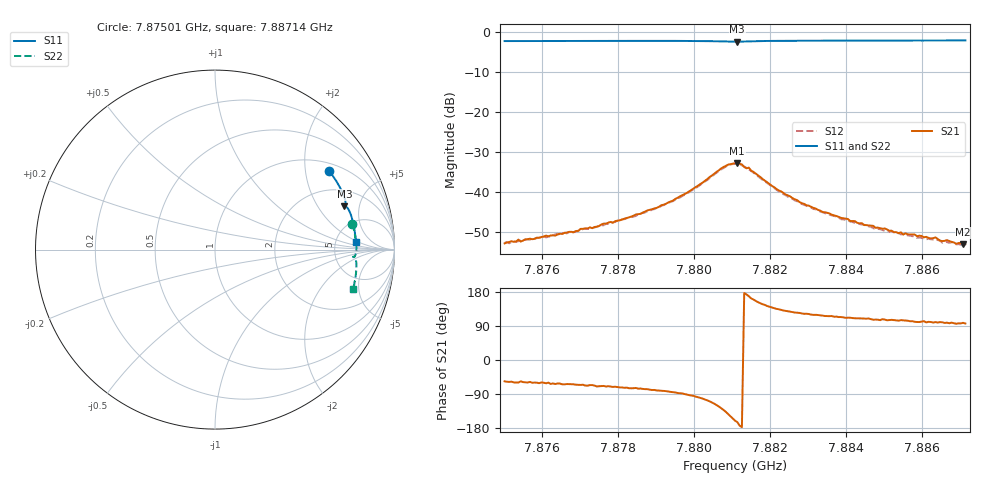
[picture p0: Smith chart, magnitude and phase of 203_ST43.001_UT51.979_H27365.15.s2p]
#  HZ  S  DB  R  50.00
! Rohde & Schwarz Vector Network Analyzer
! Rohde-Schwarz,ZNB20-2Port,1311601062101988,3.16
! Created: UTC 1/12/2023, 6:44:29 PM
! freq[Hz]  db:S11  ang:S11  db:S21  ang:S21  db:S12  ang:S12  db:S22  ang:S22
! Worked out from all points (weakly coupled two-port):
!   201 points, 7.87501 GHz to 7.88714 GHz, reference 50 ohm
!   highest |S21| = -32.69 dB at 7.88113 GHz (marker M1); lowest = -53.0 dB at 7.88708 GHz (marker M2)
!   lowest |S11| = -2.4 dB at 7.88113 GHz (marker M3), VSWR 7.35, Z = 155 + j177 ohm
!   |S11| at or under -10 dB: nowhere
!   |S22| runs from -2.3 to -1.9 dB; largest |S21 - S12| = 0.0023
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7.875008e9  -2.23 34.5  -52.84 -56.3  -52.70 -61.4  -2.17 10.6
7.876039e9  -2.22 31.6  -51.16 -60.0  -50.95 -65.6  -2.14 8.2
7.8761e9  -2.21 31.5  -50.90 -61.5  -51.36 -64.5  -2.14 8.0
7.876828e9  -2.20 29.5  -50.06 -64.1  -50.00 -69.9  -2.11 6.3
7.87707e9  -2.20 28.9  -49.19 -65.3  -49.27 -69.6  -2.11 5.8
7.877859e9  -2.19 26.7  -47.67 -71.0  -47.62 -75.3  -2.09 3.9
7.879072e9  -2.19 23.3  -43.69 -80.6  -43.87 -83.9  -2.08 1.1
7.8798e9  -2.19 21.2  -40.24 -90.9  -40.34 -94.4  -2.08 -0.7
7.88077e9  -2.33 18.6  -33.74 -131.7  -33.99 -135.2  -2.22 -3.0
7.881074e9  -2.38 18.5  -32.81 -160.0  -32.95 -163.0  -2.27 -3.0
7.881134e9  -2.38 18.5  -32.69 -163.9  -32.99 -169.2  -2.27 -3.0
7.881437e9  -2.31 18.3  -33.90 168.2  -34.34 164.1  -2.20 -3.0
7.882408e9  -2.17 15.6  -40.62 129.7  -40.81 126.7  -2.04 -5.3
7.883136e9  -2.13 13.5  -43.96 119.0  -44.25 117.2  -2.01 -7.0
7.884106e9  -2.11 10.9  -47.25 111.6  -47.38 108.4  -1.98 -9.2
7.885137e9  -2.10 8.2  -49.68 105.4  -50.01 102.7  -1.96 -11.5
7.885501e9  -2.10 7.2  -50.62 104.7  -50.56 100.0  -1.94 -12.3
7.88635e9  -2.09 5.0  -51.34 99.9  -51.80 96.1  -1.95 -14.2
7.886532e9  -2.09 4.5  -52.26 99.5  -52.68 95.1  -1.95 -14.6
7.886775e9  -2.08 3.9  -52.47 98.6  -52.52 94.7  -1.94 -15.1
7.887078e9  -2.08 3.1  -53.05 98.1  -53.54 92.5  -1.94 -15.7
7.887139e9  -2.08 2.9  -53.02 96.3  -53.23 91.9  -1.94 -15.9
